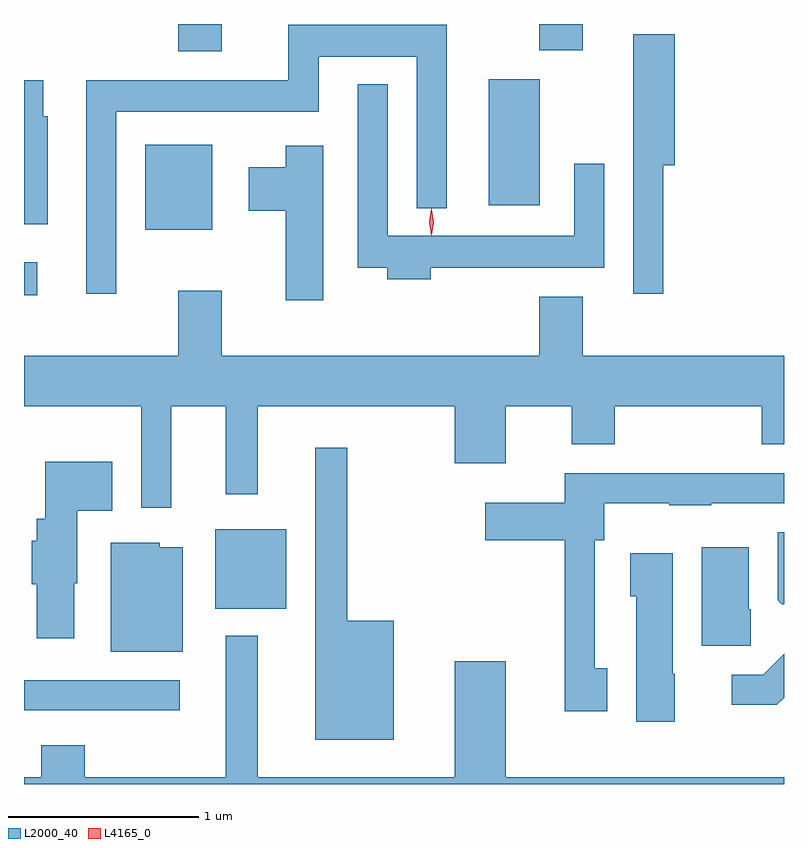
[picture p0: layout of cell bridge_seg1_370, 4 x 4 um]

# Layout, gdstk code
import gdstk
lib = gdstk.Library(unit=1e-6, precision=1e-09)
def R(c, l, rs):  # rectangles x0, y0, x1, y1
    for r in rs: c.add(gdstk.rectangle(r[:2], r[2:], *l))
def P(c, l, *ps):  # polygons
    for p in ps: c.add(gdstk.Polygon(p, *l))
L2000_40 = (2000, 40)
L4165_0 = (4165, 0)

bridge_seg1_370 = lib.new_cell('bridge_seg1_370')
R(bridge_seg1_370, L2000_40, [(872.149,858.016,872.968,858.174), (873.156,858.551,873.529,858.969), (872.149,860.201,872.219,860.374), (872.786,860.546,873.139,860.994), (874.596,860.676,874.864,861.339), (872.961,861.486,873.189,861.629), (874.861,861.491,875.089,861.629)])
P(bridge_seg1_370, L2000_40, [(872.634,861.166),(873.699,861.166),(873.699,861.456),(874.216,861.456),(874.216,860.658),(874.374,860.658),(874.374,861.624),(873.541,861.624),(873.541,861.334),(872.476,861.334),(872.476,860.208),(872.634,860.208)],
  [(875.514,860.886),(875.574,860.886),(875.574,861.574),(875.356,861.574),(875.356,860.208),(875.514,860.208)],
  [(872.274,861.144),(872.249,861.144),(872.249,861.334),(872.149,861.334),(872.149,860.576),(872.274,860.576)],
  [(874.289,860.346),(875.204,860.346),(875.204,860.893),(875.046,860.893),(875.046,860.514),(874.064,860.514),(874.064,861.313),(873.906,861.313),(873.906,860.346),(874.061,860.346),(874.061,860.286),(874.289,860.286)],
  [(873.724,860.989),(873.526,860.989),(873.526,860.874),(873.331,860.874),(873.331,860.646),(873.526,860.646),(873.526,860.176),(873.724,860.176)],
  [(872.924,859.616),(873.211,859.616),(873.211,859.153),(873.379,859.153),(873.379,859.616),(874.416,859.616),(874.416,859.316),(874.684,859.316),(874.684,859.616),(875.031,859.616),(875.031,859.416),(875.259,859.416),(875.259,859.616),(876.031,859.616),(876.031,859.416),(876.149,859.416),(876.149,859.884),(875.089,859.884),(875.089,860.194),(874.861,860.194),(874.861,859.884),(873.189,859.884),(873.189,860.224),(872.961,860.224),(872.961,859.884),(872.149,859.884),(872.149,859.616),(872.766,859.616),(872.766,859.083),(872.924,859.083)],
  [(874.094,858.489),(873.849,858.489),(873.849,859.398),(873.681,859.398),(873.681,857.861),(874.094,857.861)],
  [(872.414,858.685),(872.429,858.685),(872.429,859.066),(872.614,859.066),(872.614,859.324),(872.261,859.324),(872.261,859.024),(872.216,859.024),(872.216,858.909),(872.191,858.909),(872.191,858.681),(872.216,858.681),(872.216,858.396),(872.414,858.396)],
  [(875.219,858.239),(875.154,858.239),(875.154,858.911),(875.204,858.911),(875.204,859.106),(875.545,859.106),(875.545,859.096),(875.765,859.096),(875.765,859.106),(876.149,859.106),(876.149,859.264),(874.996,859.264),(874.996,859.109),(874.576,859.109),(874.576,858.911),(874.996,858.911),(874.996,858.011),(875.219,858.011)],
  [(876.149,858.954),(876.116,858.954),(876.116,858.597),(876.137,858.576),(876.149,858.576)],
  [(872.984,858.874),(872.864,858.874),(872.864,858.899),(872.606,858.899),(872.606,858.326),(872.984,858.326)],
  [(875.974,858.55),(875.964,858.55),(875.964,858.874),(875.716,858.874),(875.716,858.356),(875.974,858.356)],
  [(875.574,858.21),(875.564,858.21),(875.564,858.844),(875.341,858.844),(875.341,858.616),(875.371,858.616),(875.371,857.956),(875.574,857.956)],
  [(876.149,857.664),(874.684,857.664),(874.684,858.274),(874.416,858.274),(874.416,857.664),(873.379,857.664),(873.379,858.408),(873.211,858.408),(873.211,857.664),(872.469,857.664),(872.469,857.834),(872.241,857.834),(872.241,857.664),(872.149,857.664),(872.149,857.629),(876.149,857.629)],
  [(876.149,858.083),(876.149,858.314),(876.039,858.204),(875.873,858.204),(875.873,858.046),(876.112,858.046)])
P(bridge_seg1_370, L4165_0, [(874.292,860.517),(874.292,860.518),(874.282,860.587),(874.292,860.656),(874.292,860.656),(874.293,860.656),(874.302,860.587),(874.293,860.518)],
  [(874.296,860.519),(874.296,860.52),(874.286,860.586),(874.296,860.652),(874.296,860.653),(874.296,860.652),(874.306,860.586),(874.296,860.52)])

lib.write_gds('bridge_seg1_370.gds')
